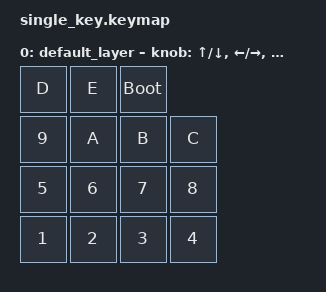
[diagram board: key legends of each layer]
#include <behaviors.dtsi>
#include <dt-bindings/zmk/keys.h>
#include <dt-bindings/zmk/bt.h>

/ {
    keymap {
        compatible = "zmk,keymap";

        default_layer { // Layer 0
            // -------------------------------------
            // |     Z     |     M     |     K     |  
            // |     A     |     B     |     C     |    T   |
            // |     D     |     E     |     F     |    Y   |
            // |     1     |     2     |     3     |    4   |
            bindings = <
                &kp D    &kp E    &bootloader   
                &kp N9    &kp A    &kp B    &kp C
                &kp N5    &kp N6    &kp N7    &kp N8
                &kp N1    &kp N2    &kp N3    &kp N4
            >;

            sensor-bindings = <
                &inc_dec_kp UP DOWN  // left
                &inc_dec_kp LEFT RIGHT  // middle
                &inc_dec_kp C_VOL_UP C_VOL_DN  // right
            >;
        };

        
    };
 };

 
